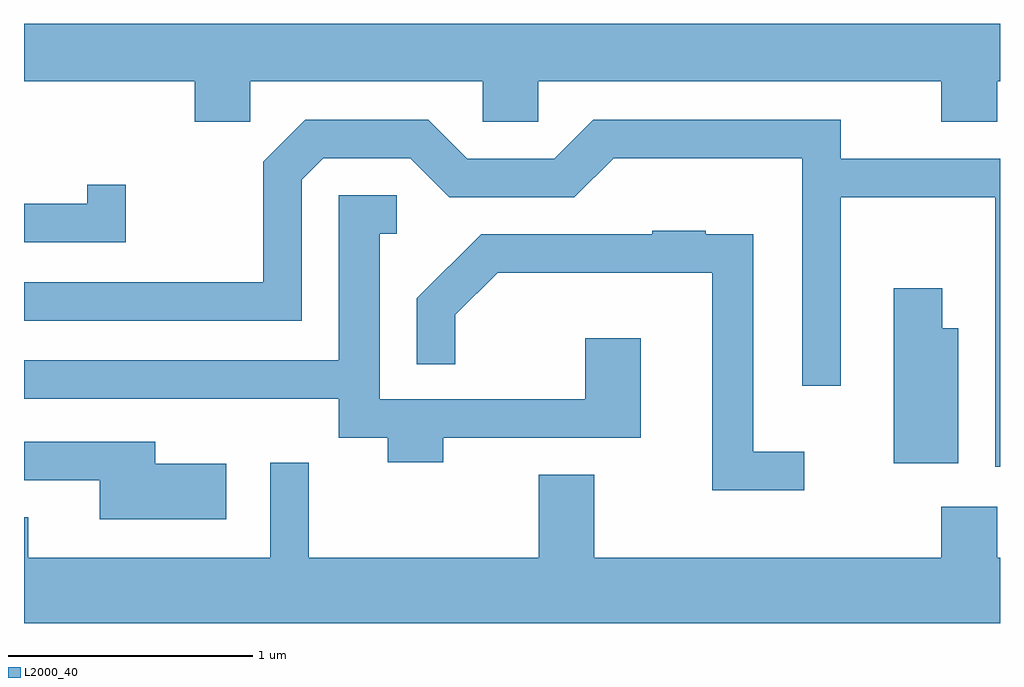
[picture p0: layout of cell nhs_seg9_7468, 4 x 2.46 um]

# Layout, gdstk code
import gdstk
lib = gdstk.Library(unit=1e-6, precision=1e-09)
def P(c, l, *ps):  # polygons
    for p in ps: c.add(gdstk.Polygon(p, *l))
L2000_40 = (2000, 40)

nhs_seg9_7468 = lib.new_cell('nhs_seg9_7468')
P(nhs_seg9_7468, L2000_40, [(406.539,2056.196),(407.491,2056.196),(407.491,2056.031),(407.719,2056.031),(407.719,2056.196),(409.371,2056.196),(409.371,2056.031),(409.599,2056.031),(409.599,2056.196),(409.611,2056.196),(409.611,2056.432),(405.611,2056.432),(405.611,2056.196),(406.311,2056.196),(406.311,2056.031),(406.539,2056.031)],
  [(409.611,2055.879),(408.959,2055.879),(408.959,2056.039),(407.944,2056.039),(407.784,2055.879),(407.427,2055.879),(407.267,2056.039),(406.764,2056.039),(406.591,2055.867),(406.591,2055.374),(405.611,2055.374),(405.611,2055.216),(406.749,2055.216),(406.749,2055.794),(406.837,2055.881),(407.194,2055.881),(407.354,2055.721),(407.867,2055.721),(408.027,2055.881),(408.801,2055.881),(408.801,2054.948),(408.959,2054.948),(408.959,2055.721),(409.591,2055.721),(409.591,2054.616),(409.611,2054.616)],
  [(406.029,2055.773),(405.871,2055.773),(405.871,2055.694),(405.611,2055.694),(405.611,2055.536),(406.029,2055.536)],
  [(407.329,2054.736),(408.139,2054.736),(408.139,2055.144),(407.911,2055.144),(407.911,2054.894),(407.069,2054.894),(407.069,2055.571),(407.138,2055.571),(407.138,2055.729),(406.901,2055.729),(406.901,2055.054),(405.611,2055.054),(405.611,2054.896),(406.901,2054.896),(406.901,2054.736),(407.101,2054.736),(407.101,2054.636),(407.329,2054.636)],
  [(408.808,2054.679),(408.599,2054.679),(408.599,2055.569),(408.405,2055.569),(408.405,2055.584),(408.185,2055.584),(408.185,2055.569),(407.484,2055.569),(407.221,2055.307),(407.221,2055.038),(407.379,2055.038),(407.379,2055.239),(407.552,2055.411),(408.431,2055.411),(408.431,2054.521),(408.808,2054.521)],
  [(409.439,2055.184),(409.374,2055.184),(409.374,2055.349),(409.176,2055.349),(409.176,2054.631),(409.439,2054.631)],
  [(406.439,2054.629),(406.149,2054.629),(406.149,2054.719),(405.611,2054.719),(405.611,2054.561),(405.921,2054.561),(405.921,2054.401),(406.439,2054.401)],
  [(409.611,2054.244),(409.599,2054.244),(409.599,2054.454),(409.371,2054.454),(409.371,2054.244),(407.949,2054.244),(407.949,2054.584),(407.721,2054.584),(407.721,2054.244),(406.779,2054.244),(406.779,2054.633),(406.621,2054.633),(406.621,2054.244),(405.629,2054.244),(405.629,2054.409),(405.611,2054.409),(405.611,2053.976),(409.611,2053.976)])

lib.write_gds('nhs_seg9_7468.gds')
